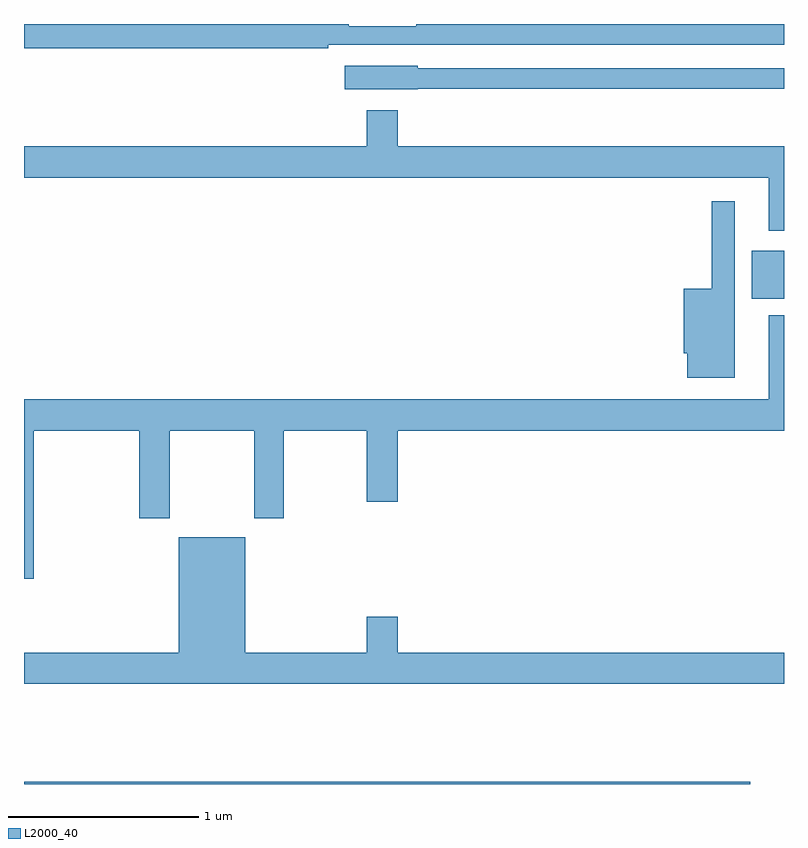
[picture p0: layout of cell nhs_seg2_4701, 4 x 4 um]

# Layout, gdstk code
import gdstk
lib = gdstk.Library(unit=1e-6, precision=1e-09)
def R(c, l, rs):  # rectangles x0, y0, x1, y1
    for r in rs: c.add(gdstk.rectangle(r[:2], r[2:], *l))
def P(c, l, *ps):  # polygons
    for p in ps: c.add(gdstk.Polygon(p, *l))
L2000_40 = (2000, 40)

nhs_seg2_4701 = lib.new_cell('nhs_seg2_4701')
R(nhs_seg2_4701, L2000_40, [(367,621.8,370.822,621.812), (370.829,624.353,371,624.607)])
P(nhs_seg2_4701, L2000_40, [(368.6,625.692),(371,625.692),(371,625.8),(369.064,625.8),(369.064,625.789),(368.708,625.789),(368.708,625.8),(367,625.8),(367,625.672),(368.6,625.672)],
  [(369.072,625.458),(371,625.458),(371,625.566),(369.072,625.566),(369.072,625.579),(368.688,625.579),(368.688,625.457),(369.072,625.457)],
  [(371,625.156),(368.968,625.156),(368.968,625.345),(368.804,625.345),(368.804,625.156),(367,625.156),(367,624.992),(370.919,624.992),(370.919,624.711),(371,624.711)],
  [(370.741,624.868),(370.62,624.868),(370.62,624.406),(370.472,624.406),(370.472,624.066),(370.49,624.066),(370.49,623.939),(370.741,623.939)],
  [(367.052,623.66),(367.607,623.66),(367.607,623.199),(367.767,623.199),(367.767,623.66),(368.212,623.66),(368.212,623.199),(368.367,623.199),(368.367,623.66),(368.804,623.66),(368.804,623.286),(368.968,623.286),(368.968,623.66),(371,623.66),(371,624.268),(370.919,624.268),(370.919,623.824),(367,623.824),(367,622.881),(367.052,622.881)],
  [(371,622.492),(368.968,622.492),(368.968,622.681),(368.804,622.681),(368.804,622.492),(368.164,622.492),(368.164,623.098),(367.814,623.098),(367.814,622.492),(367,622.492),(367,622.328),(371,622.328)])

lib.write_gds('nhs_seg2_4701.gds')
